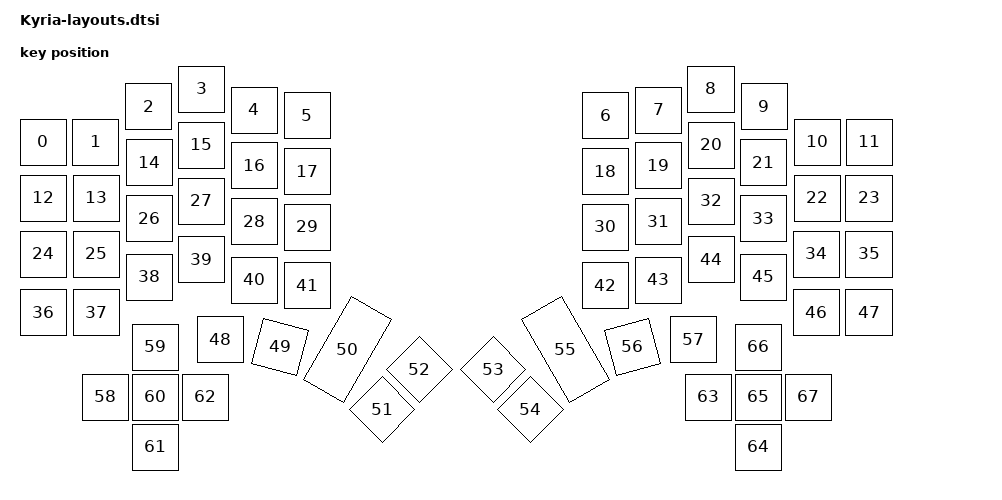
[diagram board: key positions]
#include <physical_layouts.dtsi>

/ {
    physical_layout: physical_layout_0 {
        compatible = "zmk,physical-layout";
        display-name = "Kyria";

        // kscan = <&kscan0>;
        // transform = <&matrix_transform0>;

        studio-config {
        compatible = "zmk,studio-config";
        };

        keys  //                     w   h    x    y     rot    rx    ry
            = <&key_physical_attrs 100 100    0  106       0     0   106>
            , <&key_physical_attrs 100 100  105  106       0   105   106>
            , <&key_physical_attrs 100 100  211   35       0   211    35>
            , <&key_physical_attrs 100 100  317    0       0   317     0>
            , <&key_physical_attrs 100 100  422   42       0   422    42>
            , <&key_physical_attrs 100 100  528   53       0   528    53>
            , <&key_physical_attrs 100 100 1125   53       0  1125    53>
            , <&key_physical_attrs 100 100 1231   42       0  1231    42>
            , <&key_physical_attrs 100 100 1336    0       0  1336     0>
            , <&key_physical_attrs 100 100 1442   35       0  1442    35>
            , <&key_physical_attrs 100 100 1549  106       0  1549   106>
            , <&key_physical_attrs 100 100 1653  106       0  1653   106>
            , <&key_physical_attrs 100 100    1  218       0     1   218>
            , <&key_physical_attrs 100 100  106  218       0   106   218>
            , <&key_physical_attrs 100 100  212  147       0   212   147>
            , <&key_physical_attrs 100 100  316  112       0   316   112>
            , <&key_physical_attrs 100 100  423  153       0   423   153>
            , <&key_physical_attrs 100 100  528  165       0   528   165>
            , <&key_physical_attrs 100 100 1125  165       0  1125   165>
            , <&key_physical_attrs 100 100 1230  153       0  1230   153>
            , <&key_physical_attrs 100 100 1337  112       0  1337   112>
            , <&key_physical_attrs 100 100 1441  147       0  1441   147>
            , <&key_physical_attrs 100 100 1548  218       0  1548   218>
            , <&key_physical_attrs 100 100 1652  218       0  1652   218>
            , <&key_physical_attrs 100 100    1  330       0     1   330>
            , <&key_physical_attrs 100 100  106  330       0   106   330>
            , <&key_physical_attrs 100 100  212  259       0   212   259>
            , <&key_physical_attrs 100 100  316  224       0   316   224>
            , <&key_physical_attrs 100 100  423  265       0   423   265>
            , <&key_physical_attrs 100 100  528  276       0   528   276>
            , <&key_physical_attrs 100 100 1125  276       0  1125   276>
            , <&key_physical_attrs 100 100 1230  265       0  1230   265>
            , <&key_physical_attrs 100 100 1337  224       0  1337   224>
            , <&key_physical_attrs 100 100 1441  259       0  1441   259>
            , <&key_physical_attrs 100 100 1547  330       0  1547   330>
            , <&key_physical_attrs 100 100 1652  330       0  1652   330>
            , <&key_physical_attrs 100 100    1  447       0     1   447>
            , <&key_physical_attrs 100 100  106  447       0   106   447>
            , <&key_physical_attrs 100 100  212  376       0   212   376>
            , <&key_physical_attrs 100 100  316  341       0   316   341>
            , <&key_physical_attrs 100 100  423  382       0   423   382>
            , <&key_physical_attrs 100 100  528  393       0   528   393>
            , <&key_physical_attrs 100 100 1125  393       0  1125   393>
            , <&key_physical_attrs 100 100 1230  382       0  1230   382>
            , <&key_physical_attrs 100 100 1337  341       0  1337   341>
            , <&key_physical_attrs 100 100 1441  376       0  1441   376>
            , <&key_physical_attrs 100 100 1547  447       0  1547   447>
            , <&key_physical_attrs 100 100 1652  447       0  1652   447>
            , <&key_physical_attrs 100 100  355  501       0   355   501>
            , <&key_physical_attrs 100 100  474  516    1500   524   566>
            , <&key_physical_attrs 100 200  584  465    3000   634   614>
            , <&key_physical_attrs 100 100  678  641    4500   728   691>
            , <&key_physical_attrs 100 100  753  561    4500   803   611>
            , <&key_physical_attrs 100 100  900  561 (-4500)   950   611>
            , <&key_physical_attrs 100 100  975  641 (-4500)  1025   691>
            , <&key_physical_attrs 100 200 1069  465 (-3000)  1119   614>
            , <&key_physical_attrs 100 100 1179  516 (-1500)  1229   566>
            , <&key_physical_attrs 100 100 1300  501       0  1300   501>
            , <&key_physical_attrs 100 100  125  616       0   125   616>
            , <&key_physical_attrs 100 100  225  516       0   225   516>
            , <&key_physical_attrs 100 100  225  616       0   225   616>
            , <&key_physical_attrs 100 100  225  716       0   225   716>
            , <&key_physical_attrs 100 100  325  616       0   325   616>
            , <&key_physical_attrs 100 100 1330  616       0  1330   616>
            , <&key_physical_attrs 100 100 1430  716       0  1430   716>
            , <&key_physical_attrs 100 100 1430  616       0  1430   616>
            , <&key_physical_attrs 100 100 1430  516       0  1430   516>
            , <&key_physical_attrs 100 100 1530  616       0  1530   616>
            ;
    };
};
